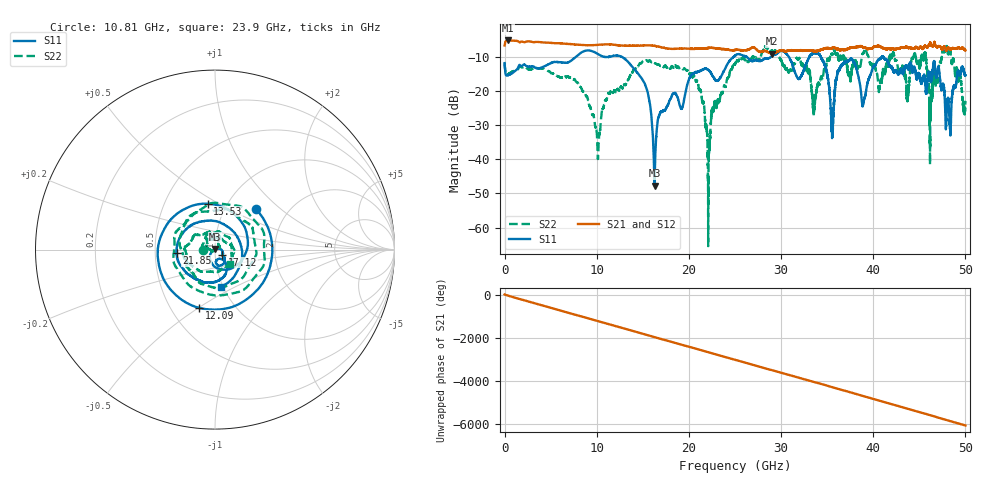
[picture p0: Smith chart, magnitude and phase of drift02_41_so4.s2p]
!Created with skrf (http://scikit-rf.org).
# Hz S RI R 50.0
!freq ReS11 ImS11 ReS21 ImS21 ReS12 ImS12 ReS22 ImS22
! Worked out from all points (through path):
!   10001 points, 300 kHz to 50 GHz, reference 50 ohm
!   highest |S21| = -5.04 dB at 325.3 MHz (marker M1); lowest = -8.9 dB at 28.98 GHz (marker M2)
!   group delay of S21, straight-line fit = 336 ps
!   lowest |S11| = -47.7 dB at 16.27 GHz (marker M3), VSWR 1.01, Z = 49.9 + j0.4 ohm
!   |S11| at or under -10 dB: start of sweep to 7.668 GHz; 12.82 GHz to 24.78 GHz (11.96 GHz wide, 63.6 % of centre); 41.13 GHz to end of sweep (the widest 3 of 10)
!   |S22| runs from -65.5 to -6.7 dB; largest |S21 - S12| = 0.03
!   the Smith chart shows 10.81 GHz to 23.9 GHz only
!   S11 on the Smith chart (normalised r, x): 10.81 GHz: 1.38, +0.70; 12.09 GHz: 0.69, -0.51; 13.53 GHz: 0.81, +0.45; 17.12 GHz: 1.08, -0.06; 21.85 GHz: 0.65, -0.03; 23.9 GHz: 0.98, -0.43
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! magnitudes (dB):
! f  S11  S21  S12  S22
! 300 kHz  -11.7  -6.5  -6.5  -11.8
! 325.3 MHz  -15.3  -5.0  -5.0  -15.1
! 8.335 GHz  -8.6  -6.4  -6.4  -19.1
! 10.11 GHz  -9.0  -6.3  -6.3  -38.7
! 10.81 GHz  -9.8  -6.2  -6.2  -23.6
! 12.09 GHz  -9.5  -6.4  -6.4  -20.4
! 13.53 GHz  -11.7  -6.6  -6.6  -16.0
! 16.27 GHz  -47.7  -6.6  -6.6  -11.7
! 16.67 GHz  -27.8  -6.8  -6.8  -12.2
! 17.12 GHz  -26.0  -7.1  -7.1  -12.4
! 21.85 GHz  -13.4  -7.3  -7.3  -30.7
! 23.9 GHz  -13.5  -7.6  -7.6  -18.5
! 25 GHz  -9.6  -7.8  -7.9  -12.0
! 28.98 GHz  -9.8  -8.9  -8.9  -8.0
! 33.34 GHz  -9.1  -8.0  -8.0  -19.9
! 35.54 GHz  -33.7  -7.3  -7.3  -9.1
! 36.78 GHz  -11.9  -7.8  -7.9  -9.4
! 41.67 GHz  -11.8  -7.4  -7.5  -11.9
! 45.5 GHz  -15.4  -6.9  -6.9  -10.0
! 46.25 GHz  -17.4  -6.1  -6.1  -24.4
! 48.12 GHz  -22.6  -7.2  -7.1  -9.0
! 50 GHz  -15.3  -7.9  -7.9  -23.2
